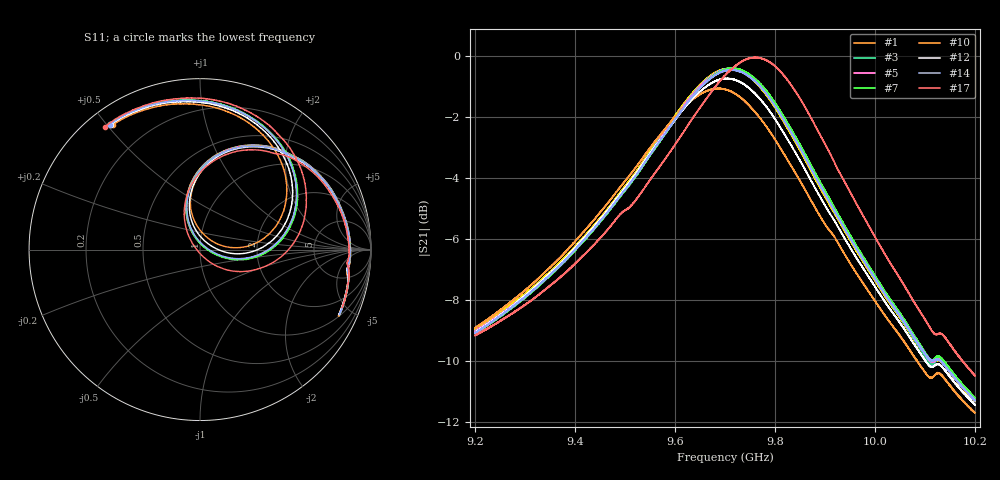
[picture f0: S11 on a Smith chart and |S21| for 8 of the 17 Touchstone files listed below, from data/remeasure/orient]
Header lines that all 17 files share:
!Agilent Technologies,N5242A,MY51221714,A.09.90.19
!Agilent N5242A: A.09.90.19
!Correction: S11(Full 2 Port(1,2))
!S21(Full 2 Port(1,2))
!S12(Full 2 Port(1,2))
!S22(Full 2 Port(1,2))
!S2P File: Measurements: S11, S21, S12, S22:
# Hz S  dB  R 50
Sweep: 9.2 GHz to 10.2 GHz
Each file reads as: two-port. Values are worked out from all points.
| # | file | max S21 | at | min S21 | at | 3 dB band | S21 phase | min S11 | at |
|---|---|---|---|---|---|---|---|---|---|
| 1 | d0_1.s2p | -0.41 dB | 9.711 GHz | -11.3 dB | 10.2 GHz | 9.539 GHz-9.86 GHz | -111 deg at 9.7 GHz | -31.1 dB | 9.71 GHz |
| 2 | d0_2.s2p | -0.40 dB | 9.706 GHz | -11.3 dB | 10.2 GHz | 9.54 GHz-9.861 GHz | -111 deg at 9.7 GHz | -30.8 dB | 9.711 GHz |
| 3 | d1_1.s2p | -0.42 dB | 9.71 GHz | -11.3 dB | 10.2 GHz | 9.541 GHz-9.862 GHz | -110 deg at 9.7 GHz | -30.8 dB | 9.713 GHz |
| 4 | d1_2.s2p | -0.41 dB | 9.715 GHz | -11.3 dB | 10.2 GHz | 9.542 GHz-9.864 GHz | -110 deg at 9.7 GHz | -31.3 dB | 9.714 GHz |
| 5 | d2_1.s2p | -0.42 dB | 9.714 GHz | -11.3 dB | 10.2 GHz | 9.541 GHz-9.863 GHz | -110 deg at 9.7 GHz | -31.0 dB | 9.713 GHz |
| 6 | d2_2.s2p | -0.41 dB | 9.71 GHz | -11.3 dB | 10.2 GHz | 9.541 GHz-9.863 GHz | -110 deg at 9.7 GHz | -30.8 dB | 9.714 GHz |
| 7 | d3_1.s2p | -0.41 dB | 9.718 GHz | -11.2 dB | 10.2 GHz | 9.545 GHz-9.866 GHz | -109 deg at 9.7 GHz | -31.7 dB | 9.716 GHz |
| 8 | d3_2.s2p | -0.41 dB | 9.718 GHz | -11.2 dB | 10.2 GHz | 9.544 GHz-9.866 GHz | -109 deg at 9.7 GHz | -31.4 dB | 9.716 GHz |
| 9 | d4_1.s2p | -0.48 dB | 9.706 GHz | -11.4 dB | 10.2 GHz | 9.535 GHz-9.859 GHz | -112 deg at 9.7 GHz | -28.8 dB | 9.708 GHz |
| 10 | d4_2.s2p | -1.07 dB | 9.688 GHz | -11.7 dB | 10.2 GHz | 9.502 GHz-9.849 GHz | -119 deg at 9.7 GHz | -21.8 dB | 9.688 GHz |
| 11 | d5_1.s2p | -0.49 dB | 9.707 GHz | -11.4 dB | 10.2 GHz | 9.535 GHz-9.859 GHz | -112 deg at 9.7 GHz | -28.8 dB | 9.708 GHz |
| 12 | d5_2.s2p | -0.74 dB | 9.706 GHz | -11.5 dB | 10.2 GHz | 9.528 GHz-9.86 GHz | -113 deg at 9.7 GHz | -25.0 dB | 9.705 GHz |
| 13 | d6_1.s2p | -0.48 dB | 9.707 GHz | -11.4 dB | 10.2 GHz | 9.537 GHz-9.86 GHz | -112 deg at 9.7 GHz | -29.3 dB | 9.709 GHz |
| 14 | d6_2.s2p | -0.46 dB | 9.713 GHz | -11.3 dB | 10.2 GHz | 9.541 GHz-9.864 GHz | -110 deg at 9.7 GHz | -30.1 dB | 9.714 GHz |
| 15 | d7_1.s2p | -0.49 dB | 9.706 GHz | -11.4 dB | 10.2 GHz | 9.535 GHz-9.859 GHz | -112 deg at 9.7 GHz | -28.9 dB | 9.708 GHz |
| 16 | d7_2.s2p | -0.49 dB | 9.709 GHz | -11.4 dB | 10.2 GHz | 9.539 GHz-9.862 GHz | -111 deg at 9.7 GHz | -29.5 dB | 9.712 GHz |
| 17 | fp_3.95.s2p | -0.05 dB | 9.761 GHz | -10.5 dB | 10.2 GHz | 9.595 GHz-9.905 GHz | -92 deg at 9.7 GHz | -36.5 dB | 9.76 GHz |
